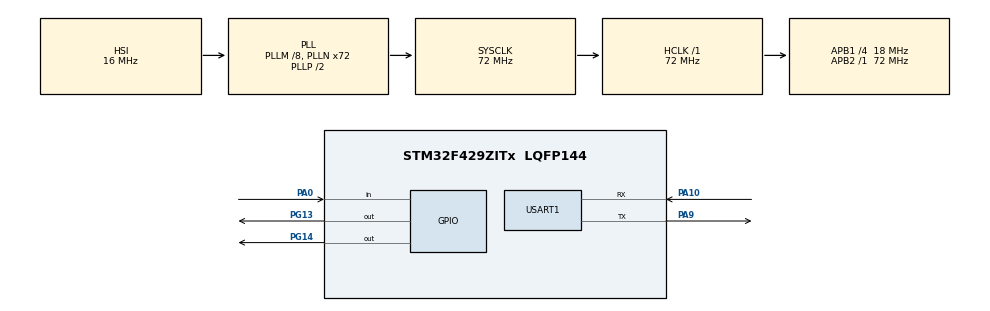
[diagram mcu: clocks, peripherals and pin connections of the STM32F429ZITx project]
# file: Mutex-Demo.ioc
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FREERTOS.Tasks01=defaultTask,24,128,StartDefaultTask,Default,NULL,Dynamic,NULL,NULL
Mcu.Family=STM32F4
Mcu.Name=STM32F429ZITx
Mcu.Package=LQFP144
NVIC.PriorityGroup=NVIC_PRIORITYGROUP_4
PA0/WKUP.GPIO_PuPd=GPIO_PULLDOWN
PA0/WKUP.Signal=GPIO_Input
PA10.Mode=Asynchronous
PA10.Signal=USART1_RX
PA9.Mode=Asynchronous
PA9.Signal=USART1_TX
PG13.Signal=GPIO_Output
PG14.Signal=GPIO_Output
ProjectManager.HeapSize=0x200
ProjectManager.StackSize=0x400
ProjectManager.TargetToolchain=STM32CubeIDE
RCC.48MHZClocksFreq_Value=48000000
RCC.AHBFreq_Value=72000000
RCC.APB1CLKDivider=RCC_HCLK_DIV4
RCC.APB1Freq_Value=18000000
RCC.APB1TimFreq_Value=36000000
RCC.APB2Freq_Value=72000000
RCC.APB2TimFreq_Value=72000000
RCC.CortexFreq_Value=72000000
RCC.HCLKFreq_Value=72000000
RCC.HSE_VALUE=8000000
RCC.HSI_VALUE=16000000
RCC.LSE_VALUE=32768
RCC.PLLM=8
RCC.PLLN=72
RCC.PLLQ=3
RCC.PLLSAIN=50
RCC.SYSCLKFreq_VALUE=72000000
RCC.SYSCLKSource=RCC_SYSCLKSOURCE_PLLCLK
RCC.VCOOutputFreq_Value=144000000
USART1.VirtualMode=VM_ASYNC
VP_FREERTOS_VS_CMSIS_V2.Mode=CMSIS_V2
board=STM32F429I-DISC1

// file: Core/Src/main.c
/* USER CODE BEGIN Header */
/**
  ******************************************************************************
  * @file           : main.c
  * @brief          : Main program body
  ******************************************************************************
  * @attention
  *
  * Copyright (c) 2025 STMicroelectronics.
  * All rights reserved.
  *
  * This software is licensed under terms that can be found in the LICENSE file
  * in the root directory of this software component.
  * If no LICENSE file comes with this software, it is provided AS-IS.
  *
  ******************************************************************************
  */
/* USER CODE END Header */
#include "main.h"
#include "cmsis_os.h"

UART_HandleTypeDef huart1;

/* Definitions for defaultTask */

/* USER CODE BEGIN PV */
/* Mutex handle */
SemaphoreHandle_t xMutex;

/* Shared resource access counter */
static volatile uint32_t ulSharedResourceAccessCount = 0;
/* USER CODE END PV */

void SystemClock_Config(void);
static void MX_GPIO_Init(void);
static void MX_USART1_UART_Init(void);
void StartDefaultTask(void *argument);

/* USER CODE BEGIN PFP */
/* Function prototypes */
static void MutexTask(void *pvParameters);
/* USER CODE END PFP */

/* USER CODE BEGIN 0 */
int _write(int file, char *data, int len)
{
    HAL_UART_Transmit(&huart1, (uint8_t*)data, len, HAL_MAX_DELAY);
    return len;
}
/* USER CODE END 0 */

int main(void)
{

  /* MCU Configuration--------------------------------------------------------*/

  /* Reset of all peripherals, Initializes the Flash interface and the Systick. */
  HAL_Init();

  /* Configure the system clock */
  SystemClock_Config();

  /* Initialize all configured peripherals */
  MX_GPIO_Init();
  MX_USART1_UART_Init();

  /* Init scheduler */

  /* Create the thread(s) */
  /* creation of defaultTask */

  /* USER CODE BEGIN RTOS_THREADS */
  /* add threads, ... */
  printf("=== FreeRTOS Mutex Demonstration ===\r\n");
      printf("STM32F429I Discovery Board\r\n");

      /* Create a mutex. Mutexes are binary semaphores with priority inheritance. */
      xMutex = xSemaphoreCreateMutex();

      if (xMutex != NULL) {
          printf("Mutex created successfully.\r\n");

          /* Create two tasks that will compete for the shared resource */
          xTaskCreate(
              MutexTask,              /* Task function */
              "MutexTask1",           /* Task name */
              configMINIMAL_STACK_SIZE, /* Stack size */
              (void*)1,               /* Parameters: Task ID 1 */
              tskIDLE_PRIORITY + 1,   /* Task priority */
              NULL                    /* Task handle (not needed for this demo) */
          );

          xTaskCreate(
              MutexTask,              /* Task function */
              "MutexTask2",           /* Task name */
              configMINIMAL_STACK_SIZE, /* Stack size */
              (void*)2,               /* Parameters: Task ID 2 */
              tskIDLE_PRIORITY + 1,   /* Task priority */
              NULL                    /* Task handle (not needed for this demo) */
          );

          printf("Mutex tasks created. Starting scheduler...\r\n");

          /* Start the scheduler */
          vTaskStartScheduler();
      } else {
          printf("Failed to create mutex. Out of memory?\r\n");
      }

  /* USER CODE END RTOS_THREADS */

  /* Start scheduler */

  /* We should never get here as control is now taken by the scheduler */

  /* Infinite loop */
  while (1)
  {

  }
}

void SystemClock_Config(void)
{
  RCC_OscInitTypeDef RCC_OscInitStruct = {0};
  RCC_ClkInitTypeDef RCC_ClkInitStruct = {0};

  /** Configure the main internal regulator output voltage
  */
  __HAL_RCC_PWR_CLK_ENABLE();
  __HAL_PWR_VOLTAGESCALING_CONFIG(PWR_REGULATOR_VOLTAGE_SCALE3);

  /** Initializes the RCC Oscillators according to the specified parameters
  * in the RCC_OscInitTypeDef structure.
  */
  RCC_OscInitStruct.OscillatorType = RCC_OSCILLATORTYPE_HSI;
  RCC_OscInitStruct.HSIState = RCC_HSI_ON;
  RCC_OscInitStruct.HSICalibrationValue = RCC_HSICALIBRATION_DEFAULT;
  RCC_OscInitStruct.PLL.PLLState = RCC_PLL_ON;
  RCC_OscInitStruct.PLL.PLLSource = RCC_PLLSOURCE_HSI;
  RCC_OscInitStruct.PLL.PLLM = 8;
  RCC_OscInitStruct.PLL.PLLN = 72;
  RCC_OscInitStruct.PLL.PLLP = RCC_PLLP_DIV2;
  RCC_OscInitStruct.PLL.PLLQ = 3;
  if (HAL_RCC_OscConfig(&RCC_OscInitStruct) != HAL_OK)
  {
    Error_Handler();
  }

  /** Initializes the CPU, AHB and APB buses clocks
  */
  RCC_ClkInitStruct.ClockType = RCC_CLOCKTYPE_HCLK|RCC_CLOCKTYPE_SYSCLK
                              |RCC_CLOCKTYPE_PCLK1|RCC_CLOCKTYPE_PCLK2;
  RCC_ClkInitStruct.SYSCLKSource = RCC_SYSCLKSOURCE_PLLCLK;
  RCC_ClkInitStruct.AHBCLKDivider = RCC_SYSCLK_DIV1;
  RCC_ClkInitStruct.APB1CLKDivider = RCC_HCLK_DIV4;
  RCC_ClkInitStruct.APB2CLKDivider = RCC_HCLK_DIV1;

  if (HAL_RCC_ClockConfig(&RCC_ClkInitStruct, FLASH_LATENCY_2) != HAL_OK)
  {
    Error_Handler();
  }
}

static void MX_USART1_UART_Init(void)
{

  huart1.Instance = USART1;
  huart1.Init.BaudRate = 115200;
  huart1.Init.WordLength = UART_WORDLENGTH_8B;
  huart1.Init.StopBits = UART_STOPBITS_1;
  huart1.Init.Parity = UART_PARITY_NONE;
  huart1.Init.Mode = UART_MODE_TX_RX;
  huart1.Init.HwFlowCtl = UART_HWCONTROL_NONE;
  huart1.Init.OverSampling = UART_OVERSAMPLING_16;
  if (HAL_UART_Init(&huart1) != HAL_OK)
  {
    Error_Handler();
  }

}

static void MX_GPIO_Init(void)
{
  GPIO_InitTypeDef GPIO_InitStruct = {0};

  /* GPIO Ports Clock Enable */
  __HAL_RCC_GPIOA_CLK_ENABLE();
  __HAL_RCC_GPIOG_CLK_ENABLE();

  /*Configure GPIO pin Output Level */
  HAL_GPIO_WritePin(GPIOG, GPIO_PIN_13|GPIO_PIN_14, GPIO_PIN_RESET);

  /*Configure GPIO pin : PA0 */
  GPIO_InitStruct.Pin = GPIO_PIN_0;
  GPIO_InitStruct.Mode = GPIO_MODE_INPUT;
  GPIO_InitStruct.Pull = GPIO_PULLDOWN;
  HAL_GPIO_Init(GPIOA, &GPIO_InitStruct);

  /*Configure GPIO pins : PG13 PG14 */
  GPIO_InitStruct.Pin = GPIO_PIN_13|GPIO_PIN_14;
  GPIO_InitStruct.Mode = GPIO_MODE_OUTPUT_PP;
  GPIO_InitStruct.Pull = GPIO_NOPULL;
  GPIO_InitStruct.Speed = GPIO_SPEED_FREQ_LOW;
  HAL_GPIO_Init(GPIOG, &GPIO_InitStruct);

}

/* USER CODE BEGIN 4 */
/**
 * @brief Mutex Task - Demonstrates mutex usage to protect a shared resource
 * @param pvParameters: Task parameters (task ID)
 */
static void MutexTask(void *pvParameters)
{
    uint32_t ulTaskID = (uint32_t)pvParameters;
    char pcTaskName[20];

    sprintf(pcTaskName, "MutexTask%lu", ulTaskID);
    printf("%s: Started\r\n", pcTaskName);

    for (;;) {
        /* Attempt to take the mutex. Block indefinitely until it's available. */
        if (xSemaphoreTake(xMutex, portMAX_DELAY) == pdTRUE) {
            /* Mutex successfully taken, now access the shared resource */
            ulSharedResourceAccessCount++;

            printf("%s: Accessing shared resource. Count: %lu\r\n",
                   pcTaskName, ulSharedResourceAccessCount);

            /* Simulate work on the shared resource */
            vTaskDelay(pdMS_TO_TICKS(50));

            /* Give the mutex back, allowing other tasks to access the resource */
            xSemaphoreGive(xMutex);

            /* Toggle LED to show activity */
            if (ulTaskID == 1) {
            	HAL_GPIO_TogglePin(GPIOG, GPIO_PIN_13);
            } else {
            	HAL_GPIO_TogglePin(GPIOG, GPIO_PIN_14);
            }
        }

        /* Introduce a small delay to allow other tasks to run */
        vTaskDelay(pdMS_TO_TICKS(100));
    }
}
/* USER CODE END 4 */

void StartDefaultTask(void *argument)
{
  for(;;)
  {
    osDelay(1);
  }
}

void Error_Handler(void)
{
  __disable_irq();
  while (1)
  {
  }
}
